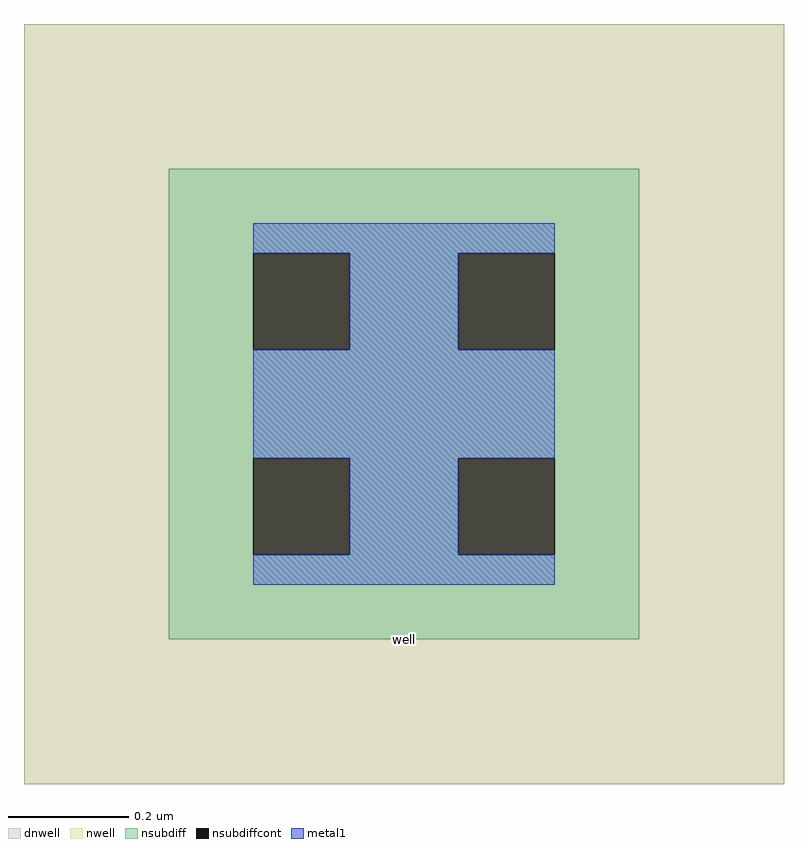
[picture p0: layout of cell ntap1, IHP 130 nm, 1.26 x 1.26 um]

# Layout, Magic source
magic
tech ihp-sg13g2
<< dnwell >>
rect -24 -24 102 102
<< nwell >>
rect -24 -24 102 102
<< nsubdiff >>
rect 0 64 78 78
rect 0 48 14 64
rect 30 48 48 64
rect 64 48 78 64
rect 0 30 78 48
rect 0 14 14 30
rect 30 14 48 30
rect 64 14 78 30
rect 0 0 78 14
<< nsubdiffcont >>
rect 14 48 30 64
rect 48 48 64 64
rect 14 14 30 30
rect 48 14 64 30
<< metal1 >>
rect 14 64 64 69
rect 30 48 48 64
rect 14 30 64 48
rect 30 14 48 30
rect 14 9 64 14
<< labels >>
flabel comment s 39 0 39 0 0 FreeSans 250 0 0 0 well
<< end >>
